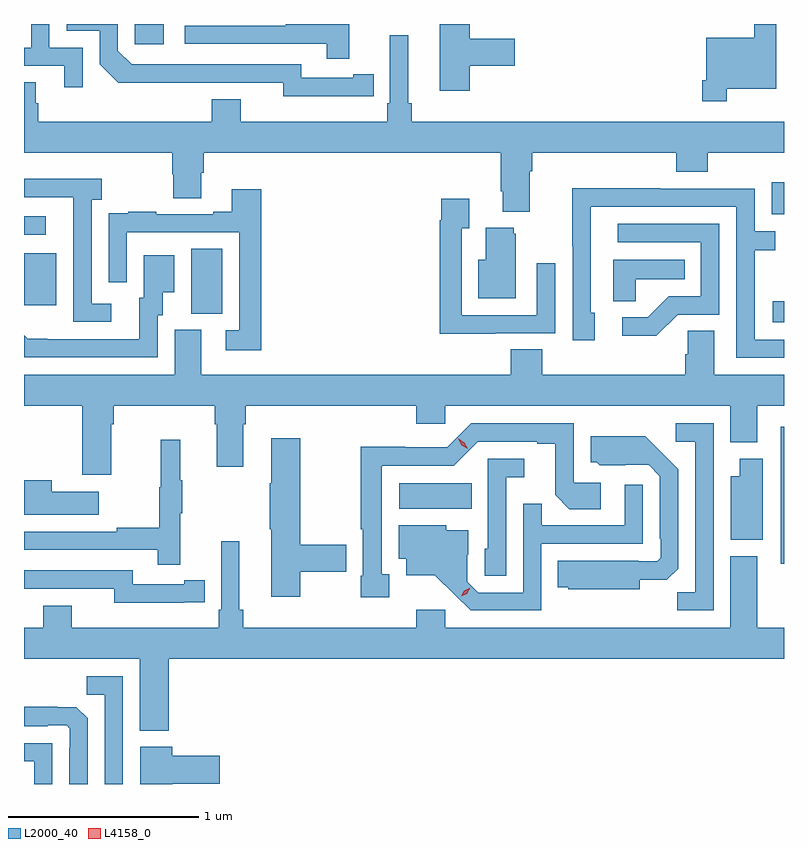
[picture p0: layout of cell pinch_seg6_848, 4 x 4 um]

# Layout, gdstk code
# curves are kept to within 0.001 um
import gdstk
lib = gdstk.Library(unit=1e-6, precision=1e-09)
def R(c, l, rs):  # rectangles x0, y0, x1, y1
    for r in rs: c.add(gdstk.rectangle(r[:2], r[2:], *l))
def P(c, l, *ps):  # polygons
    for p in ps: c.add(gdstk.Polygon(p, *l))
L2000_40 = (2000, 40)
L4158_0 = (4158, 0)

pinch_seg6_848 = lib.new_cell('pinch_seg6_848')
R(pinch_seg6_848, L2000_40, [(158.244,917.492,158.624,917.626), (160.209,918.473,160.268,918.583), (157.148,918.517,157.312,918.86), (156.268,918.561,156.439,918.835), (156.268,918.933,156.382,919.029), (160.203,919.041,160.268,919.21), (156.852,919.935,157.003,920.042)])
P(pinch_seg6_848, L2000_40, [(158.615,919.822),(158.851,919.822),(158.851,919.964),(158.615,919.964),(158.615,920.042),(158.456,920.042),(158.456,919.692),(158.615,919.692)],
  [(157.979,920.042),(157.645,920.042),(157.645,920.034),(157.113,920.034),(157.113,919.938),(157.861,919.938),(157.861,919.86),(157.979,919.86)],
  [(156.576,919.917),(156.402,919.917),(156.402,920.042),(156.306,920.042),(156.306,919.917),(156.268,919.917),(156.268,919.821),(156.479,919.821),(156.479,919.71),(156.576,919.71)],
  [(158,919.662),(158.108,919.662),(158.108,919.778),(158,919.778),(158,919.758),(157.728,919.758),(157.728,919.83),(156.834,919.83),(156.762,919.902),(156.762,920.042),(156.492,920.042),(156.492,920.007),(156.666,920.007),(156.666,919.83),(156.764,919.733),(157.632,919.734),(157.632,919.661)],
  [(159.967,919.7),(160.228,919.7),(160.228,920.042),(160.111,920.042),(160.111,919.969),(159.858,919.969),(159.858,919.747),(159.838,919.747),(159.838,919.635),(159.967,919.635)],
  [(158.929,919.268),(158.942,919.268),(158.942,919.364),(159.701,919.364),(159.701,919.265),(159.866,919.265),(159.866,919.364),(160.268,919.364),(160.268,919.528),(158.309,919.528),(158.309,919.624),(158.29,919.624),(158.29,919.984),(158.193,919.984),(158.193,919.624),(158.18,919.624),(158.18,919.528),(157.408,919.528),(157.408,919.645),(157.256,919.645),(157.256,919.528),(156.344,919.528),(156.344,919.626),(156.331,919.626),(156.331,919.736),(156.268,919.736),(156.268,919.364),(157.049,919.364),(157.049,919.251),(157.054,919.251),(157.054,919.126),(157.201,919.126),(157.201,919.258),(157.214,919.258),(157.214,919.364),(158.777,919.364),(158.777,919.162),(158.789,919.162),(158.789,919.055),(158.929,919.055)],
  [(156.727,918.57),(156.624,918.57),(156.624,919.118),(156.676,919.118),(156.676,919.228),(156.268,919.228),(156.268,919.131),(156.527,919.131),(156.527,918.931),(156.528,918.931),(156.528,918.474),(156.727,918.474)],
  [(160.268,918.381),(160.113,918.381),(160.113,918.85),(160.223,918.85),(160.223,918.951),(160.113,918.951),(160.113,919.176),(159.617,919.176),(159.617,919.178),(159.154,919.178),(159.154,918.871),(159.156,918.871),(159.156,918.378),(159.271,918.378),(159.271,918.522),(159.252,918.522),(159.252,919.08),(160.017,919.08),(160.017,918.285),(160.268,918.285)],
  [(157.517,919.171),(157.361,919.171),(157.361,919.054),(157.265,919.054),(157.265,919.041),(156.965,919.041),(156.965,919.054),(156.817,919.054),(156.817,919.047),(156.715,919.047),(156.715,918.938),(156.714,918.938),(156.714,918.684),(156.81,918.684),(156.81,918.945),(157.401,918.945),(157.401,918.429),(157.329,918.429),(157.329,918.324),(157.517,918.324)],
  [(158.747,918.414),(159.063,918.414),(159.063,918.784),(158.967,918.784),(158.967,918.51),(158.571,918.51),(158.571,918.967),(158.611,918.967),(158.611,919.123),(158.463,919.123),(158.463,919.01),(158.455,919.01),(158.455,918.413),(158.747,918.413)],
  [(159.708,918.513),(159.927,918.513),(159.927,918.99),(159.393,918.99),(159.393,918.894),(159.831,918.894),(159.831,918.609),(159.662,918.609),(159.551,918.498),(159.417,918.498),(159.417,918.401),(159.595,918.401)],
  [(158.857,918.939),(158.846,918.939),(158.846,918.97),(158.699,918.97),(158.699,918.802),(158.66,918.802),(158.66,918.599),(158.857,918.599)],
  [(156.972,918.51),(156.997,918.51),(156.997,918.629),(157.06,918.629),(157.06,918.826),(156.899,918.826),(156.899,918.6),(156.875,918.6),(156.875,918.384),(156.288,918.385),(156.268,918.405),(156.268,918.288),(156.972,918.288)],
  [(159.489,918.698),(159.746,918.698),(159.746,918.802),(159.368,918.802),(159.368,918.583),(159.489,918.583)],
  [(156.727,917.936),(156.74,917.936),(156.74,918.032),(157.271,918.032),(157.271,917.936),(157.283,917.936),(157.283,917.712),(157.423,917.712),(157.423,917.936),(157.436,917.936),(157.436,918.032),(158.333,918.032),(158.333,917.939),(158.484,917.939),(158.484,918.032),(159.986,918.032),(159.986,917.84),(160.126,917.84),(160.126,918.032),(160.268,918.032),(160.268,918.196),(159.901,918.196),(159.901,918.428),(159.762,918.428),(159.762,918.305),(159.749,918.305),(159.749,918.196),(158.996,918.196),(158.996,918.329),(158.831,918.329),(158.831,918.196),(157.201,918.196),(157.201,918.432),(157.061,918.432),(157.061,918.196),(156.268,918.196),(156.268,918.032),(156.575,918.032),(156.575,917.67),(156.727,917.67)],
  [(159.897,917.94),(159.699,917.94),(159.699,917.844),(159.801,917.844),(159.801,917.051),(159.706,917.051),(159.706,916.956),(159.897,916.956)],
  [(158.191,917.145),(158.152,917.145),(158.152,917.718),(158.529,917.718),(158.655,917.844),(158.969,917.844),(158.969,917.832),(159.063,917.832),(159.063,917.564),(159.139,917.488),(159.304,917.488),(159.304,917.628),(159.162,917.628),(159.162,917.94),(158.622,917.94),(158.496,917.814),(158.274,917.814),(158.274,917.816),(158.041,917.816),(158.041,917.383),(158.051,917.383),(158.051,917.137),(158.041,917.137),(158.041,917.025),(158.191,917.025)],
  [(160.268,917.922),(160.251,917.922),(160.251,917.546),(160.25,917.546),(160.25,917.201),(160.268,917.201)],
  [(159.508,917.117),(159.652,917.117),(159.711,917.176),(159.711,917.698),(159.539,917.872),(159.251,917.872),(159.251,917.736),(159.282,917.736),(159.298,917.72),(159.555,917.721),(159.615,917.661),(159.615,917.332),(159.618,917.332),(159.618,917.232),(159.6,917.214),(159.5,917.214),(159.5,917.218),(159.076,917.218),(159.076,917.078),(159.132,917.078),(159.132,917.066),(159.508,917.066)],
  [(157.722,917.158),(157.963,917.158),(157.963,917.3),(157.722,917.3),(157.722,917.863),(157.568,917.863),(157.568,917.624),(157.561,917.624),(157.561,917.383),(157.568,917.383),(157.568,917.028),(157.722,917.028)],
  [(157.091,917.467),(157.102,917.467),(157.102,917.641),(157.091,917.641),(157.091,917.854),(156.988,917.854),(156.988,917.604),(156.981,917.604),(156.981,917.39),(156.757,917.39),(156.757,917.37),(156.268,917.37),(156.268,917.274),(156.973,917.274),(156.973,917.196),(157.091,917.196)],
  [(160.156,917.755),(160.034,917.755),(160.034,917.662),(159.989,917.662),(159.989,917.327),(160.156,917.327)],
  [(158.805,917.657),(158.902,917.657),(158.902,917.754),(158.709,917.754),(158.709,917.28),(158.694,917.28),(158.694,917.137),(158.805,917.137)],
  [(156.661,917.581),(156.413,917.581),(156.413,917.641),(156.268,917.641),(156.268,917.459),(156.661,917.459)],
  [(158.991,917.307),(159.525,917.307),(159.525,917.617),(159.429,917.617),(159.429,917.403),(158.993,917.403),(158.993,917.516),(158.895,917.516),(158.895,917.049),(158.658,917.049),(158.601,917.106),(158.601,917.248),(158.605,917.248),(158.605,917.377),(158.49,917.377),(158.49,917.404),(158.24,917.404),(158.24,917.228),(158.279,917.228),(158.279,917.141),(158.431,917.141),(158.618,916.956),(158.991,916.956)],
  [(157.031,916.7),(160.268,916.7),(160.268,916.864),(160.126,916.864),(160.126,917.242),(159.986,917.242),(159.986,916.864),(158.484,916.864),(158.484,916.96),(158.333,916.96),(158.333,916.864),(157.421,916.864),(157.421,916.96),(157.402,916.96),(157.402,917.32),(157.305,917.32),(157.305,916.96),(157.292,916.96),(157.292,916.864),(156.52,916.864),(156.52,916.981),(156.368,916.981),(156.368,916.864),(156.268,916.864),(156.268,916.7),(156.878,916.7),(156.878,916.322),(157.031,916.322)],
  [(157.112,916.998),(157.22,916.998),(157.22,917.114),(157.112,917.114),(157.112,917.094),(156.84,917.094),(156.84,917.166),(156.268,917.166),(156.268,917.069),(156.284,917.069),(156.284,917.07),(156.744,917.07),(156.744,916.997),(157.112,916.997)],
  [(156.789,916.608),(156.598,916.608),(156.598,916.513),(156.693,916.513),(156.693,916.042),(156.789,916.042)],
  [(156.603,916.388),(156.544,916.447),(156.268,916.448),(156.268,916.347),(156.392,916.347),(156.392,916.35),(156.492,916.35),(156.51,916.332),(156.51,916.232),(156.507,916.232),(156.507,916.042),(156.603,916.042)],
  [(156.417,916.257),(156.268,916.257),(156.268,916.161),(156.321,916.161),(156.321,916.042),(156.417,916.042)],
  [(157.048,916.043),(157.297,916.043),(157.297,916.19),(157.048,916.19),(157.048,916.237),(156.881,916.237),(156.881,916.042),(157.048,916.042)])
P(pinch_seg6_848, L4158_0, [(158.604,917.806),(158.572,917.825),(158.554,917.858),(158.554,917.858),(158.555,917.858),(158.586,917.839),(158.604,917.807),(158.604,917.806)],
  [(158.568,917.03),(158.568,917.03),(158.585,917.059),(158.616,917.074),(158.617,917.074),(158.617,917.074),(158.599,917.044),(158.568,917.03)])

lib.write_gds('pinch_seg6_848.gds')
